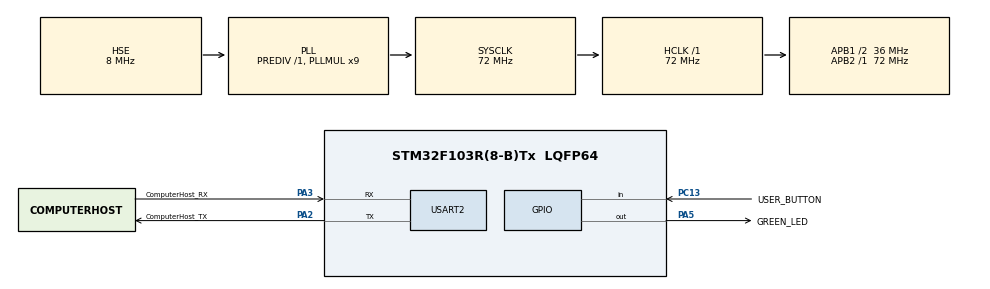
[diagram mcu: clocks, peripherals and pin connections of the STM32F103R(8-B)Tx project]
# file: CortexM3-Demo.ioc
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Dma.Request0=USART2_RX
Dma.USART2_RX.0.Direction=DMA_PERIPH_TO_MEMORY
Dma.USART2_RX.0.Instance=DMA1_Channel6
Dma.USART2_RX.0.MemDataAlignment=DMA_MDATAALIGN_BYTE
Dma.USART2_RX.0.MemInc=DMA_MINC_ENABLE
Dma.USART2_RX.0.Mode=DMA_NORMAL
Dma.USART2_RX.0.PeriphDataAlignment=DMA_PDATAALIGN_BYTE
Dma.USART2_RX.0.PeriphInc=DMA_PINC_DISABLE
Dma.USART2_RX.0.Priority=DMA_PRIORITY_HIGH
Mcu.Family=STM32F1
Mcu.Name=STM32F103R(8-B)Tx
Mcu.Package=LQFP64
NVIC.DMA1_Channel6_IRQn=true\:0\:0\:false\:false\:true\:false\:true
NVIC.PriorityGroup=NVIC_PRIORITYGROUP_4
NVIC.USART2_IRQn=true\:0\:0\:false\:false\:true\:true\:true
PA13.GPIO_Label=TMS
PA13.Mode=Serial_Wire
PA13.Signal=SYS_JTMS-SWDIO
PA14.GPIO_Label=TCK
PA14.Mode=Serial_Wire
PA14.Signal=SYS_JTCK-SWCLK
PA2.GPIO_Label=ComputerHost_TX
PA2.GPIO_Mode=GPIO_MODE_AF_PP
PA2.GPIO_PuPd=GPIO_NOPULL
PA2.GPIO_Speed=GPIO_SPEED_FREQ_LOW
PA2.Mode=Asynchronous
PA2.Signal=USART2_TX
PA3.GPIO_Label=ComputerHost_RX
PA3.GPIO_Mode=GPIO_MODE_AF_PP
PA3.GPIO_PuPd=GPIO_NOPULL
PA3.GPIO_Speed=GPIO_SPEED_FREQ_LOW
PA3.Mode=Asynchronous
PA3.Signal=USART2_RX
PA5.GPIO_Label=GREEN_LED
PA5.GPIO_ModeDefaultOutputPP=GPIO_MODE_OUTPUT_PP
PA5.GPIO_PuPd=GPIO_NOPULL
PA5.GPIO_Speed=GPIO_SPEED_FREQ_LOW
PA5.Signal=GPIO_Output
PB3.GPIO_Label=SWO
PB3.Signal=SYS_JTDO-TRACESWO
PC13-TAMPER-RTC.GPIO_Label=USER_BUTTON
PC13-TAMPER-RTC.GPIO_PuPd=GPIO_NOPULL
PC13-TAMPER-RTC.Signal=GPIO_Input
PC14-OSC32_IN.Mode=LSE-External-Oscillator
PC14-OSC32_IN.Signal=RCC_OSC32_IN
PC15-OSC32_OUT.Mode=LSE-External-Oscillator
PC15-OSC32_OUT.Signal=RCC_OSC32_OUT
PD0-OSC_IN.Mode=HSE-External-Clock-Source
PD0-OSC_IN.Signal=RCC_OSC_IN
PD1-OSC_OUT.Mode=HSE-External-Clock-Source
PD1-OSC_OUT.Signal=RCC_OSC_OUT
ProjectManager.HeapSize=0x200
ProjectManager.StackSize=0x400
ProjectManager.TargetToolchain=MDK-ARM V5
RCC.AHBFreq_Value=72000000
RCC.APB1CLKDivider=RCC_HCLK_DIV2
RCC.APB1Freq_Value=36000000
RCC.APB1TimFreq_Value=72000000
RCC.APB2Freq_Value=72000000
RCC.APB2TimFreq_Value=72000000
RCC.HCLKFreq_Value=72000000
RCC.PLLMUL=RCC_PLL_MUL9
RCC.PLLSourceVirtual=RCC_PLLSOURCE_HSE
RCC.RTCClockSelection=RCC_RTCCLKSOURCE_LSE
RCC.SYSCLKFreq_VALUE=72000000
RCC.SYSCLKSource=RCC_SYSCLKSOURCE_PLLCLK
RCC.USBFreq_Value=72000000
USART2.VirtualMode=VM_ASYNC
board=NUCLEO-F103RB

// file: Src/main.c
/* USER CODE BEGIN Header */
/**
  ******************************************************************************
  * @file           : main.c
  * @brief          : Main program body
	* @author         : Chan Tai Wing Vincent
	* @content        : M3 Demo - UART Receive with DMA
	* @version        : Tutorial 8
  ******************************************************************************
  * @attention
  * This program is written for STM32F103RB Nucleo Board. This program is to
  * demonstrate how to control the built in LED (ON/OFF) by the USART message
  * which controlled by RX interrupt. Also, send USART message to another deivce.
  *
  ******************************************************************************
  */
/* USER CODE END Header */

#include "main.h"

/* USER CODE BEGIN Includes */
#include "stdbool.h" //include for bool type
#include <string.h>
/* USER CODE END Includes */

/* USER CODE BEGIN PD */
#define BUFFER_SIZE 5
/* USER CODE END PD */

UART_HandleTypeDef huart2;
DMA_HandleTypeDef hdma_usart2_rx;

/* USER CODE BEGIN PV */
unsigned char UART_RX_BUFFER[BUFFER_SIZE] = {0};
unsigned char UART_TX_BUFFER[BUFFER_SIZE] = {0};
unsigned char INIT_MSG[] = "<<----STM32F103RB DMA Receive Demo---->>\r\n";
/* USER CODE END PV */

void SystemClock_Config(void);
static void MX_GPIO_Init(void);
static void MX_DMA_Init(void);
static void MX_USART2_UART_Init(void);

int main(void)
{

  /* MCU Configuration--------------------------------------------------------*/

  /* Reset of all peripherals, Initializes the Flash interface and the Systick. */
  HAL_Init();

  /* Configure the system clock */
  SystemClock_Config();

  /* Initialize all configured peripherals */
  MX_GPIO_Init();
  MX_DMA_Init();
  MX_USART2_UART_Init();
  /* USER CODE BEGIN 2 */
	HAL_UART_Receive_DMA(&huart2,UART_RX_BUFFER,BUFFER_SIZE);
	HAL_UART_Transmit(&huart2,INIT_MSG,sizeof(INIT_MSG)-1,300);
  /* USER CODE END 2 */

  /* Infinite loop */
  while (1)
  {

  }
}

void SystemClock_Config(void)
{
  RCC_OscInitTypeDef RCC_OscInitStruct = {0};
  RCC_ClkInitTypeDef RCC_ClkInitStruct = {0};

  /** Initializes the CPU, AHB and APB busses clocks
  */
  RCC_OscInitStruct.OscillatorType = RCC_OSCILLATORTYPE_HSE;
  RCC_OscInitStruct.HSEState = RCC_HSE_BYPASS;
  RCC_OscInitStruct.HSEPredivValue = RCC_HSE_PREDIV_DIV1;
  RCC_OscInitStruct.HSIState = RCC_HSI_ON;
  RCC_OscInitStruct.PLL.PLLState = RCC_PLL_ON;
  RCC_OscInitStruct.PLL.PLLSource = RCC_PLLSOURCE_HSE;
  RCC_OscInitStruct.PLL.PLLMUL = RCC_PLL_MUL9;
  if (HAL_RCC_OscConfig(&RCC_OscInitStruct) != HAL_OK)
  {
    Error_Handler();
  }
  /** Initializes the CPU, AHB and APB busses clocks
  */
  RCC_ClkInitStruct.ClockType = RCC_CLOCKTYPE_HCLK|RCC_CLOCKTYPE_SYSCLK
                              |RCC_CLOCKTYPE_PCLK1|RCC_CLOCKTYPE_PCLK2;
  RCC_ClkInitStruct.SYSCLKSource = RCC_SYSCLKSOURCE_PLLCLK;
  RCC_ClkInitStruct.AHBCLKDivider = RCC_SYSCLK_DIV1;
  RCC_ClkInitStruct.APB1CLKDivider = RCC_HCLK_DIV2;
  RCC_ClkInitStruct.APB2CLKDivider = RCC_HCLK_DIV1;

  if (HAL_RCC_ClockConfig(&RCC_ClkInitStruct, FLASH_LATENCY_2) != HAL_OK)
  {
    Error_Handler();
  }
}

static void MX_USART2_UART_Init(void)
{

  huart2.Instance = USART2;
  huart2.Init.BaudRate = 115200;
  huart2.Init.WordLength = UART_WORDLENGTH_8B;
  huart2.Init.StopBits = UART_STOPBITS_1;
  huart2.Init.Parity = UART_PARITY_NONE;
  huart2.Init.Mode = UART_MODE_TX_RX;
  huart2.Init.HwFlowCtl = UART_HWCONTROL_NONE;
  huart2.Init.OverSampling = UART_OVERSAMPLING_16;
  if (HAL_UART_Init(&huart2) != HAL_OK)
  {
    Error_Handler();
  }

}

static void MX_DMA_Init(void)
{

  /* DMA controller clock enable */
  __HAL_RCC_DMA1_CLK_ENABLE();
  hdma_usart2_rx.Instance = DMA1_Channel6;
  hdma_usart2_rx.Init.Direction = DMA_PERIPH_TO_MEMORY;
  hdma_usart2_rx.Init.PeriphInc = DMA_PINC_DISABLE;
  hdma_usart2_rx.Init.MemInc = DMA_MINC_ENABLE;
  hdma_usart2_rx.Init.PeriphDataAlignment = DMA_MDATAALIGN_BYTE;
  hdma_usart2_rx.Init.MemDataAlignment = DMA_MDATAALIGN_BYTE;
  hdma_usart2_rx.Init.Mode = DMA_NORMAL;
  hdma_usart2_rx.Init.Priority = DMA_PRIORITY_HIGH;
  HAL_DMA_Init(&hdma_usart2_rx);

  __HAL_LINKDMA(&huart2,hdmatx,hdma_usart2_rx);
  /* DMA interrupt init */
  /* DMA1_Channel6_IRQn interrupt configuration */
  HAL_NVIC_SetPriority(DMA1_Channel6_IRQn, 0, 0);
  HAL_NVIC_EnableIRQ(DMA1_Channel6_IRQn);

}

static void MX_GPIO_Init(void)
{
  GPIO_InitTypeDef GPIO_InitStruct = {0};

  /* GPIO Ports Clock Enable */
  __HAL_RCC_GPIOC_CLK_ENABLE();
  __HAL_RCC_GPIOD_CLK_ENABLE();
  __HAL_RCC_GPIOA_CLK_ENABLE();
  __HAL_RCC_GPIOB_CLK_ENABLE();

  /*Configure GPIO pin Output Level */
  HAL_GPIO_WritePin(GREEN_LED_GPIO_Port, GREEN_LED_Pin, GPIO_PIN_RESET);

  /*Configure GPIO pin : USER_BUTTON_Pin */
  GPIO_InitStruct.Pin = USER_BUTTON_Pin;
  GPIO_InitStruct.Mode = GPIO_MODE_INPUT;
  GPIO_InitStruct.Pull = GPIO_NOPULL;
  HAL_GPIO_Init(USER_BUTTON_GPIO_Port, &GPIO_InitStruct);

  /*Configure GPIO pin : GREEN_LED_Pin */
  GPIO_InitStruct.Pin = GREEN_LED_Pin;
  GPIO_InitStruct.Mode = GPIO_MODE_OUTPUT_PP;
  GPIO_InitStruct.Pull = GPIO_NOPULL;
  GPIO_InitStruct.Speed = GPIO_SPEED_FREQ_LOW;
  HAL_GPIO_Init(GREEN_LED_GPIO_Port, &GPIO_InitStruct);

}

/* USER CODE BEGIN 4 */
void HAL_UART_RxCpltCallback(UART_HandleTypeDef *huart)
{
  if(huart==&huart2)
	{
		memcpy(UART_TX_BUFFER,UART_RX_BUFFER,BUFFER_SIZE);
		unsigned char init_msg[]="UART2-DMA-RX=";
		HAL_UART_Transmit(&huart2,init_msg,sizeof(init_msg)-1,300);
		HAL_UART_Transmit(&huart2,UART_TX_BUFFER,BUFFER_SIZE,300);
		unsigned char new_line[]="\r\n";
		HAL_UART_Transmit(&huart2,new_line,sizeof(new_line)-1,300);
		HAL_UART_Receive_DMA(&huart2,UART_RX_BUFFER,BUFFER_SIZE);
	}
}
/* USER CODE END 4 */

void Error_Handler(void)
{
}

/************************ (C) COPYRIGHT STMicroelectronics *****END OF FILE****/
